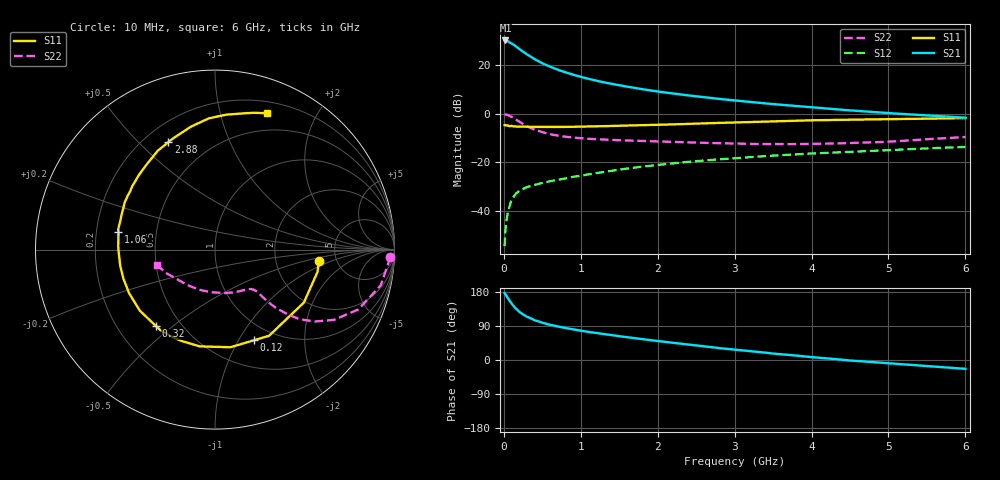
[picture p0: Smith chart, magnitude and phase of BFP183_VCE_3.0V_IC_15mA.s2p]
! Infineon Technologies  Discrete & RF Semiconductors
! BFP183
! VCE = 3.0 V,  IC =  15 mA
! Common Emitter S-Parameters:  Jan 2016
# GHz  S  MA  R  50
!  f  S11  S21  S12  S22
! GHz  MAG  ANG  MAG  ANG  MAG  ANG  MAG  ANG
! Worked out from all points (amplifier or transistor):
!   210 points, 10 MHz to 6 GHz, reference 50 ohm
!   highest |S21| = 30.1 dB at 20 MHz (marker M1)
!   |S21| within 3 dB of that: start of sweep to 181.3 MHz
!   unconditionally stable (mu >= 1): 946.6 MHz to 5.639 GHz
!   at 185 MHz: K = 0.33, MSG = 29.5 dB, |S12| = -32.1 dB
!   at 1.52 GHz: K = 1.12, MAG = 15.1 dB, |S12| = -22.9 dB
!   at 6 GHz: K = 0.96, MSG = 6.0 dB, |S12| = -13.7 dB
!   S11 on the Smith chart (normalised r, x): 10 MHz: 3.65, -0.71; 120 MHz: 0.80, -1.16; 320 MHz: 0.37, -0.44; 1.06 GHz: 0.29, +0.08; 2.88 GHz: 0.30, +0.61; 6 GHz: 0.31, +1.40
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0.01  0.583 -6.3  31.86 176.6  0.0019 88.5  0.9762 -2.4
0.02  0.5844 -12.4  32 173.5  0.004 78.6  0.9673 -4.9
0.05  0.5763 -30.8  30.98 163.3  0.0089 79.5  0.9444 -12.2
0.1  0.5668 -57.9  27.88 148.9  0.0169 65.9  0.8648 -22.7
0.12  0.5496 -66.9  26.47 144.4  0.019 62.6  0.8253 -25.6
0.15  0.5508 -81.0  24.69 136.8  0.0222 58.9  0.7705 -30.5
0.2  0.5459 -99.0  21.55 127.3  0.0261 54.0  0.6847 -35.8
0.26  0.5421 -115.1  18.32 118.9  0.029 49.7  0.6013 -39.7
0.32  0.5381 -127.6  15.9 112.7  0.0318 47.8  0.536 -41.8
0.4  0.5396 -140.9  13.24 104.9  0.0344 46.7  0.4694 -43.8
0.5  0.5369 -153.1  10.85 98.3  0.038 45.8  0.4161 -44.6
0.6  0.5353 -162.3  9.282 92.9  0.041 46.2  0.3796 -44.8
0.8  0.5362 -176.5  7.083 84.4  0.0467 47.9  0.3364 -45.0
1.02  0.544 171.6  5.599 76.8  0.054 48.8  0.312 -45.9
1.06  0.5472 169.8  5.404 75.5  0.0554 48.9  0.3085 -46.2
1.5  0.5675 152.7  3.835 62.8  0.0712 49.5  0.2852 -50.7
2.02  0.5934 135.7  2.827 49.7  0.0893 47.5  0.2696 -59.3
2.88  0.6525 113.5  1.958 29.8  0.1183 41.7  0.2461 -79.1
3.1  0.6676 108.7  1.81 25.5  0.1253 40.0  0.241 -85.1
4.1  0.7358 91.1  1.317 6.0  0.1548 31.7  0.2411 -115.6
5.1  0.7756 78.2  1.006 -10.1  0.1811 24.6  0.2717 -144.0
6  0.8129 69.2  0.829 -23.3  0.2074 16.4  0.3328 -164.6
